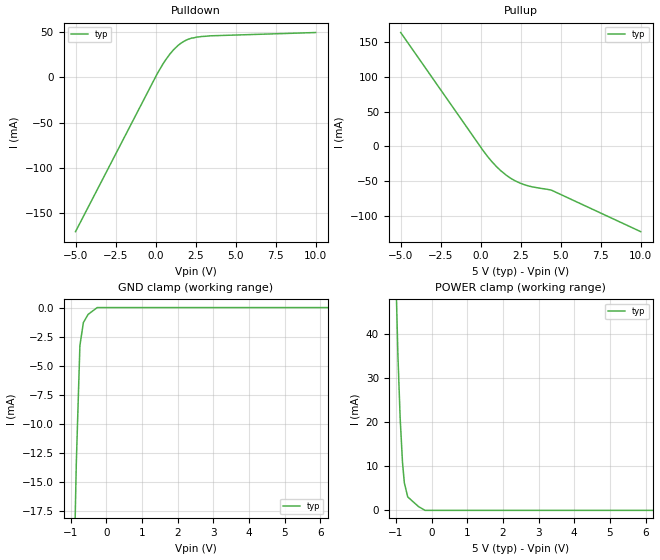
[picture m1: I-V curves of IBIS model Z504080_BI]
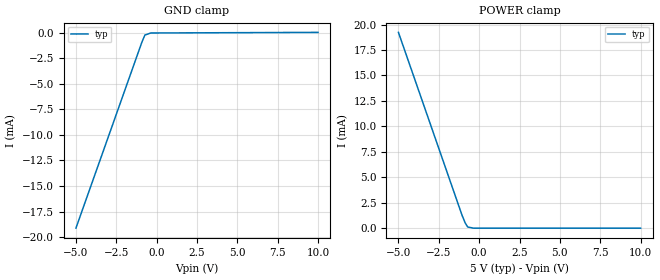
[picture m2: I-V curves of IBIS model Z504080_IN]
| YOU ARE ONLY AUTHORIZED TO USE THIS SOFTWARE
| ACCORDING TO LICENSOR'S LICENSE RESTRICTIONS.
[IBIS Ver] 3.1
[File Name] mc54hc243j.ibs
[File Rev] 2.0
[Source] Measured and created by ICX Technology
[Date] Friday 7/14/00 9:08:06 AM
[Copyright]
| (C) COPYRIGHT 1993-2000
| MENTOR GRAPHICS CORPORATION
| ICX STANDARD LIBRARY, ICX PROJECT MODELING,
| ICX CUSTOM MODELING, ICX VENDOR MODEL
| ALL RIGHTS RESERVED.
| THE FOLLOWING ARE TRADEMARKS OR SERVICE MARKS OF
| MENTOR GRAPHICS CORPORATION:ICX (R), ICX STANDARD
| LIBRARY(R), ICX PROJECT MODELING(R), ICX CUSTOM
| MODELING(R), qualityIBIS(TM), MODELVIEWER(TM),
| AND MODELEDITOR(TM)
| ALL COPIES OF SOFTWARE, INCLUDING BUT NOT LIMITED TO
| ANY MODIFICATIONS, ENHANCEMENTS OR DERIVATIVE WORKS,
| MUST CONTAIN ALL MENTOR GRAPHICS CORPORATION'S
| NOTICES AND LEGENDS, INCLUDING THOSE EMBEDDED IN
| SOFTWARE AND THOSE AFFIXED TO SOFTWARE MEDIUM
| AND CONTAINER, AS RECEIVED FROM MENTOR GRAPHICS
| CORPORATION.
|  ZAP Model Builder 2.7
[Component] MC54HC243J
[Manufacturer] OnSemiconductor
[Package]
| variable   typ   min   max
R_pkg  .21ohms NA NA
L_pkg  4.543nH NA NA
C_pkg  1.8pF NA NA
[Pin] signal_name  model_name  R_pin  L_pin C_pin
1 _GAB Z504080_IN .22 6.757n 2.434p
2 NC NC .212 4.757n 1.941p
3 A1 Z504080_BI .204 3.257n 1.448p
4 A2 Z504080_BI .196 2.257n .955p
5 A3 Z504080_BI .204 3.257n 1.448p
6 A4 Z504080_BI .212 4.757n 1.941p
7 GND GND .22 6.757n 2.434p
8 B4 Z504080_BI .22 6.757n 2.434p
9 B3 Z504080_BI .212 4.757n 1.941p
10 B2 Z504080_BI .204 3.257n 1.448p
11 B1 Z504080_BI .196 2.257n .955p
12 NC NC .204 3.257n 1.448p
13 GBA Z504080_IN .212 4.757n 1.941p
14 VCC POWER .22 6.757n 2.434p
| Models and submodels in the file (2): Z504080_BI (I/O), Z504080_IN (Input)
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| (C) COPYRIGHT 1993-2000
| MENTOR GRAPHICS CORPORATION
| ICX STANDARD LIBRARY, ICX PROJECT MODELING,
| ICX CUSTOM MODELING, ICX VENDOR MODEL
| ALL RIGHTS RESERVED.
| THE FOLLOWING ARE TRADEMARKS OR SERVICE MARKS OF
| MENTOR GRAPHICS CORPORATION:ICX (R), ICX STANDARD
| LIBRARY(R), ICX PROJECT MODELING(R), ICX CUSTOM
| MODELING(R), qualityIBIS(TM), MODELVIEWER(TM),
| AND MODELEDITOR(TM)
| ALL COPIES OF SOFTWARE, INCLUDING BUT NOT LIMITED TO
| ANY MODIFICATIONS, ENHANCEMENTS OR DERIVATIVE WORKS,
| MUST CONTAIN ALL MENTOR GRAPHICS CORPORATION'S
| NOTICES AND LEGENDS, INCLUDING THOSE EMBEDDED IN
| SOFTWARE AND THOSE AFFIXED TO SOFTWARE MEDIUM
| AND CONTAINER, AS RECEIVED FROM MENTOR GRAPHICS
| CORPORATION.
| Model Application Version 1.89 2/18/99.
[Model] Z504080_BI
Model_type I/O
Vinl=1.000V
Vinh=3.500V
Vref=0.000V
Rref=500.0Mohms
Cref=50.00pF
Vmeas=2.500V
C_comp 8.000pF NA NA
| variable typ   min   max
[Voltage Range] 5.000V NA NA
[POWER Clamp Reference] 5.000V NA NA
[Pullup Reference] 5.000V NA NA
[Pulldown Reference] 0.000V NA NA
[GND Clamp Reference] 0.000V NA NA
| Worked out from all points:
|   slope of the pulldown table from 0 to 0.75 V, typ, clamps not added: 34.6 ohm
|   slope of the pullup table from 0 to 0.75 V, typ, clamps not added: 34 ohm
|   GND clamp passes 1 mA (typ) near -0.59 V on its own axis
[GND Clamp]
-5V       -1.235A    NA         NA
-1.269V   -87.38mA   NA         NA
-1.188V   -68.83mA   NA         NA
-1.061V   -46.23mA   NA         NA
-842mV    -13.45mA   NA         NA
-741mV    -3.272mA   NA         NA
-643.3mV  -1.293mA   NA         NA
-512.4mV  -593.6uA   NA         NA
-256.2mV  0A         NA         NA
10V       0A         NA         NA
[Pulldown]
-5V       -170mA     NA         NA
102.5mV   3.509mA    NA         NA
645.1mV   19.21mA    NA         NA
916.1mV   25.68mA    NA         NA
1.388V    34.48mA    NA         NA
2.058V    41.67mA    NA         NA
2.874V    44.6mA     NA         NA
10V       48.96mA    NA         NA
[Pullup]
-5V       163.4mA    NA         NA
157mV     -6.072mA   NA         NA
658mV     -20.69mA   NA         NA
1.261V    -34.89mA   NA         NA
1.887V    -45.78mA   NA         NA
2.442V    -52.34mA   NA         NA
3.215V    -57.87mA   NA         NA
4.408V    -62.49mA   NA         NA
10V       -122.1mA   NA         NA
[POWER Clamp]
-5V       1.745A     NA         NA
-1.089V   81.93mA    NA         NA
-943mV    35.32mA    NA         NA
-879mV    20.86mA    NA         NA
-814mV    10.92mA    NA         NA
-762mV    6.233mA    NA         NA
-667mV    3.045mA    NA         NA
-364mV    851.5uA    NA         NA
-182mV    0A         NA         NA
10V       0A         NA         NA
[Ramp]
| variable typ min max
dV/dt_r 2.839/1.611n NA NA
dV/dt_f 2.839/1.640n NA NA
R_load = 500.0Ohms
| (C) COPYRIGHT 1993-2000
| MENTOR GRAPHICS CORPORATION
| ICX STANDARD LIBRARY, ICX PROJECT MODELING,
| ICX CUSTOM MODELING, ICX VENDOR MODEL
| ALL RIGHTS RESERVED.
| THE FOLLOWING ARE TRADEMARKS OR SERVICE MARKS OF
| MENTOR GRAPHICS CORPORATION:ICX (R), ICX STANDARD
| LIBRARY(R), ICX PROJECT MODELING(R), ICX CUSTOM
| MODELING(R), qualityIBIS(TM), MODELVIEWER(TM),
| AND MODELEDITOR(TM)
| ALL COPIES OF SOFTWARE, INCLUDING BUT NOT LIMITED TO
| ANY MODIFICATIONS, ENHANCEMENTS OR DERIVATIVE WORKS,
| MUST CONTAIN ALL MENTOR GRAPHICS CORPORATION'S
| NOTICES AND LEGENDS, INCLUDING THOSE EMBEDDED IN
| SOFTWARE AND THOSE AFFIXED TO SOFTWARE MEDIUM
| AND CONTAINER, AS RECEIVED FROM MENTOR GRAPHICS
| CORPORATION.
| Model Application Version 1.89 2/18/99.
[Model] Z504080_IN
Model_type Input
Vinl = 1.000V
Vinh = 3.500V
C_comp 4.000pF NA NA
| variable typ   min   max
[Voltage Range] 5.000V NA NA
[GND Clamp Reference] 0.000V NA NA
[POWER Clamp Reference] 5.000V NA NA
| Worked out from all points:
|   POWER clamp passes 1 mA (typ) near -0.99 V on its own axis
[GND Clamp]
-5V       -19.12mA   NA         NA
-917.9mV  -942.9uA   NA         NA
-729mV    -232.5uA   NA         NA
-364.5mV  -29.65uA   NA         NA
10V       30.93uA    NA         NA
[POWER Clamp]
-5V       19.23mA    NA         NA
-1.06V    1.266mA    NA         NA
-867mV    521.6uA    NA         NA
-710mV    113.7uA    NA         NA
-355mV    0A         NA         NA
10V       0A         NA         NA
